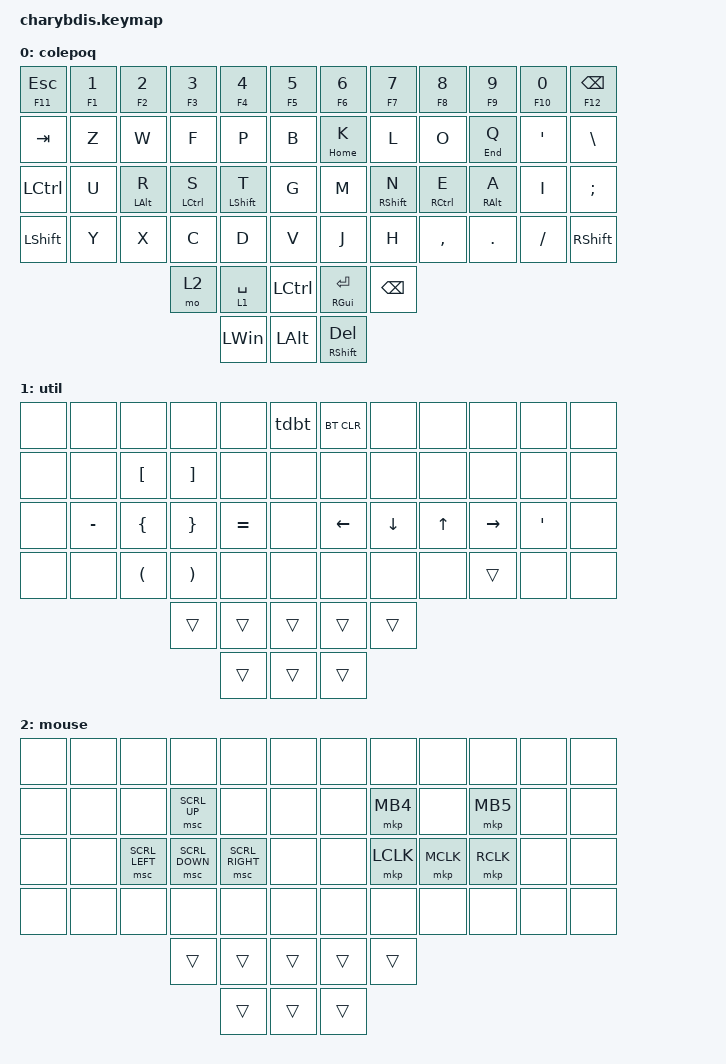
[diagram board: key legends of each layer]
#include <behaviors.dtsi>
#include <dt-bindings/zmk/bt.h>
#include <dt-bindings/zmk/keys.h>
#include <dt-bindings/zmk/pointing.h>

/ {
    behaviors {
        hmr: hmr {
            compatible = "zmk,behavior-hold-tap";
            label = "HMR";
            bindings = <&kp>, <&kp>;

            #binding-cells = <2>;
            tapping-term-ms = <175>;
            quick-tap-ms = <175>;
            flavor = "tap-preferred";
        };

        hmrs: hmrs {
            compatible = "zmk,behavior-hold-tap";
            label = "HMRS";
            bindings = <&kp>, <&kp>;

            #binding-cells = <2>;
            flavor = "tap-preferred";
            tapping-term-ms = <200>;
        };

        tdbt: tdbt {
            compatible = "zmk,behavior-tap-dance";
            label = "TDBT";
            #binding-cells = <0>;
            bindings = <&bt BT_SEL 0>, <&bt BT_SEL 1>;

            tapping-term-ms = <200>;
        };
    };

    combos {
        compatible = "zmk,combos";

        Esc {
            bindings = <&kp ESCAPE>;
            key-positions = <13 14>;
        };

        Delete {
            bindings = <&kp DELETE>;
            key-positions = <44 45>;
        };

        caps {
            bindings = <&caps_word>;
            key-positions = <52 49>;
        };
    };

    keymap {
        compatible = "zmk,keymap";

        colepoq {
            bindings = <
&hmrs F11 ESC   &hmrs F1 N1  &hmrs F2 N2       &hmr F3 N3    &hmr F4 N4    &hmr F5 N5      &hmr F6 N6          &hmr F7 N7     &hmr F8 N8    &hmrs F9 N9   &hmrs F10 N0  &hmrs F12 BACKSPACE
&kp TAB         &kp Z        &kp W             &kp F         &kp P         &kp B           &hmr HOME K         &kp L          &kp O         &hmrs END Q   &kp SQT       &kp BSLH
&kp LCTRL       &kp U        &hmrs LEFT_ALT R  &hmr LCTRL S  &hmr LSHFT T  &kp G           &kp M               &hmr RSHFT N   &hmr RCTRL E  &hmrs RALT A  &kp I         &kp SEMI
&kp LEFT_SHIFT  &kp Y        &kp X             &kp C         &kp D         &kp V           &kp J               &kp H          &kp COMMA     &kp DOT       &kp SLASH     &kp RIGHT_SHIFT
                                               &mo 2         &lt 1 SPACE   &kp LCTRL       &hmr RGUI ENTER     &kp BACKSPACE
                                                             &kp LEFT_WIN  &kp LEFT_ALT    &hmr RSHIFT DELETE
            >;
        };

        util {
            bindings = <
&none  &none      &none             &none              &none      &tdbt     &bt BT_CLR      &none           &none         &none            &none     &none
&none  &none      &kp LEFT_BRACKET  &kp RIGHT_BRACKET  &none      &none     &none           &none           &none         &none            &none     &none
&none  &kp MINUS  &kp LBRC          &kp RBRC           &kp EQUAL  &none     &kp LEFT_ARROW  &kp DOWN_ARROW  &kp UP_ARROW  &kp RIGHT_ARROW  &kp APOS  &none
&none  &none      &kp LPAR          &kp RPAR           &none      &none     &none           &none           &none         &trans           &none     &none
                                    &trans             &trans     &trans    &trans          &trans
                                                       &trans     &trans    &trans
            >;
        };

        mouse {
            bindings = <
&none  &none  &none           &none           &none            &none     &none   &none      &none      &none      &none  &none
&none  &none  &none           &msc SCRL_UP    &none            &none     &none   &mkp MB4   &none      &mkp MB5   &none  &none
&none  &none  &msc SCRL_LEFT  &msc SCRL_DOWN  &msc SCRL_RIGHT  &none     &none   &mkp LCLK  &mkp MCLK  &mkp RCLK  &none  &none
&none  &none  &none           &none           &none            &none     &none   &none      &none      &none      &none  &none
                              &trans          &trans           &trans    &trans  &trans
                                              &trans           &trans    &trans
            >;
        };
    };
};
